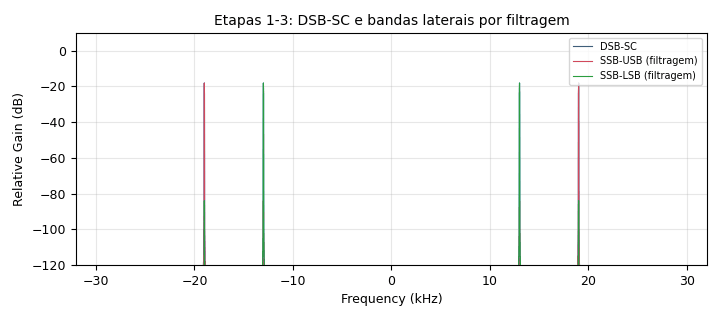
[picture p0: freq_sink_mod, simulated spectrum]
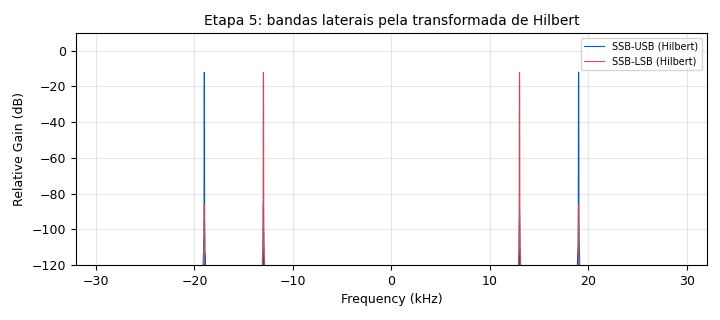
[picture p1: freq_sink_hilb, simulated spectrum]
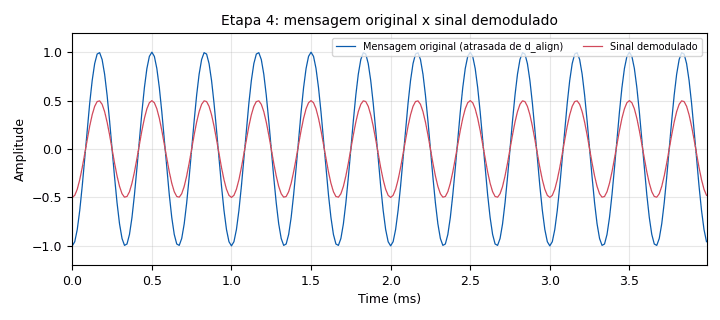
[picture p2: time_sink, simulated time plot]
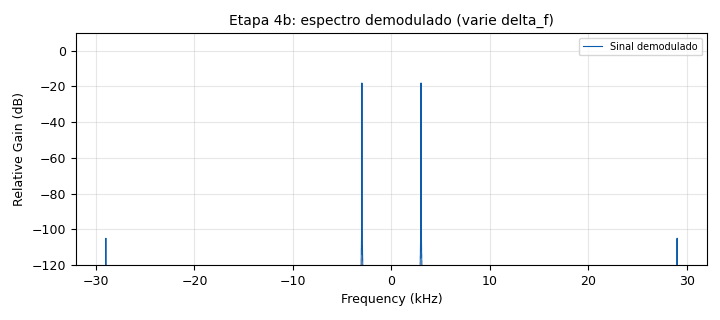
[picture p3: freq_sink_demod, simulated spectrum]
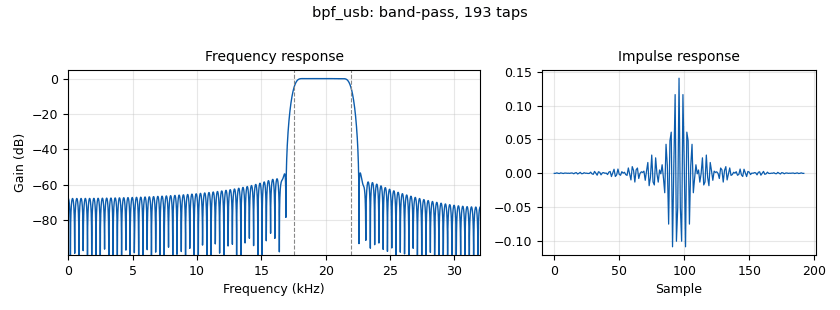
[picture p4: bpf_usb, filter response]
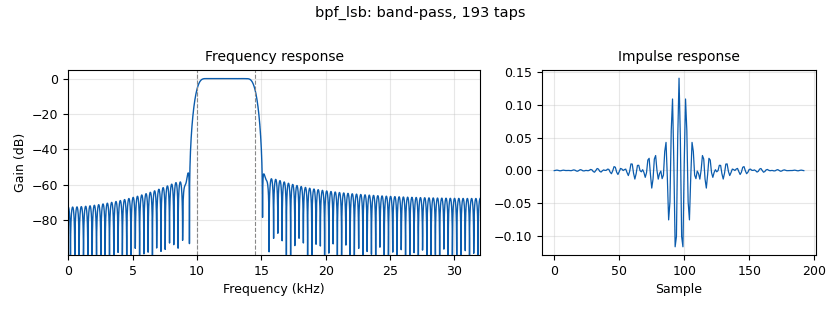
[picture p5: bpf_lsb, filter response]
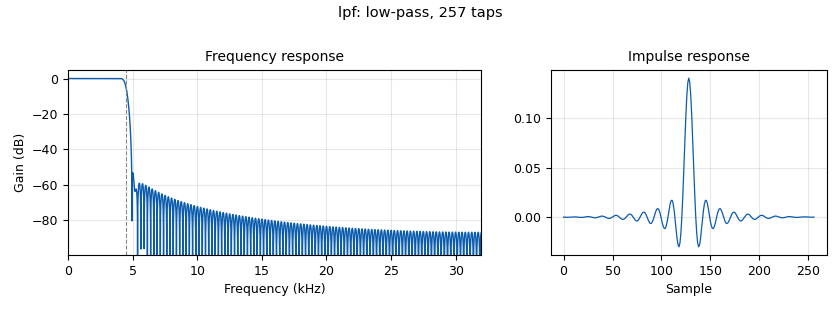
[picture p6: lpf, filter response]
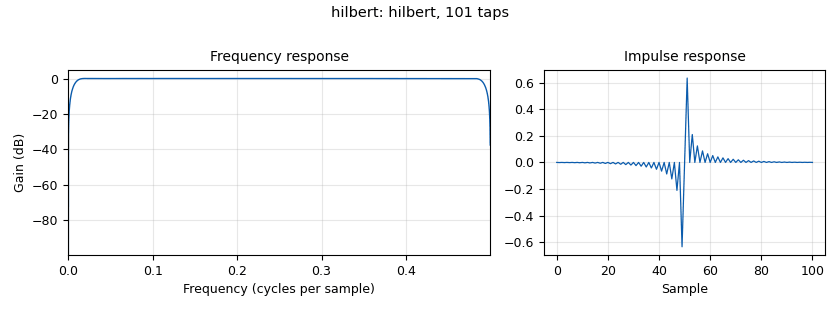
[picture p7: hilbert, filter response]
options:
  parameters:
    author: Prof. Daniel Costa Araújo
    description: Prática 04 - Modulação SSB (Banda Lateral Única)
    generate_options: qt_gui
    id: pratica_04_ssb
    output_language: python
    title: Prática 04 - Modulação SSB (Banda Lateral Única)
  states: {}

blocks:
- name: samp_rate
  id: variable
  parameters:
    comment: Taxa de amostragem
    value: '64000'
  states: {}
- name: fc
  id: variable
  parameters:
    comment: Frequência da portadora
    value: '16000'
  states: {}
- name: bw_trans
  id: variable
  parameters:
    comment: Banda de transição dos BPF
    value: '800'
  states: {}
- name: bw_trans_lp
  id: variable
  parameters:
    comment: Banda de transição do LPF
    value: '600'
  states: {}
- name: n_hilb
  id: variable
  parameters:
    comment: Coeficientes do filtro de Hilbert (ímpar)
    value: '101'
  states: {}
- name: d_align
  id: variable
  parameters:
    comment: Atraso de grupo BPF + LPF (amostras)
    value: '224'
  states: {}
- name: fm
  id: variable_qtgui_range
  parameters:
    comment: Frequência da mensagem
    gui_hint: 0,0,1,1
    label: Frequência da mensagem fm (Hz)
    start: '1500'
    step: '500'
    stop: '6000'
    value: '3000'
  states: {}
- name: delta_f
  id: variable_qtgui_range
  parameters:
    comment: Erro de frequência do oscilador local
    gui_hint: 0,1,1,1
    label: Erro do oscilador local delta_f (Hz)
    start: '-500'
    step: '25'
    stop: '500'
    value: '0'
  states: {}
- name: src_mensagem
  id: analog_sig_source_x
  parameters:
    amp: '1.0'
    comment: Sinal mensagem m(t)
    freq: fm
    offset: '0'
    phase: '0'
    samp_rate: samp_rate
    type: float
    waveform: analog.GR_COS_WAVE
  states: {}
- name: src_portadora_cos
  id: analog_sig_source_x
  parameters:
    amp: '1.0'
    comment: Portadora em fase cos(2 pi fc t)
    freq: fc
    offset: '0'
    phase: '0'
    samp_rate: samp_rate
    type: float
    waveform: analog.GR_COS_WAVE
  states: {}
- name: src_portadora_sin
  id: analog_sig_source_x
  parameters:
    amp: '1.0'
    comment: Portadora em quadratura sin(2 pi fc t)
    freq: fc
    offset: '0'
    phase: '0'
    samp_rate: samp_rate
    type: float
    waveform: analog.GR_SIN_WAVE
  states: {}
- name: src_local
  id: analog_sig_source_x
  parameters:
    amp: '2.0'
    comment: 'Oscilador local: fc + delta_f, amplitude 2'
    freq: fc+delta_f
    offset: '0'
    phase: '0'
    samp_rate: samp_rate
    type: float
    waveform: analog.GR_COS_WAVE
  states: {}
- name: mult_mod
  id: blocks_multiply_xx
  parameters:
    comment: 'DSB-SC: m(t) x c(t)'
    type: float
  states: {}
- name: throttle
  id: blocks_throttle2
  parameters:
    samples_per_second: samp_rate
    type: float
  states: {}
- name: bpf_usb
  id: band_pass_filter
  parameters:
    comment: 'Etapa 2: seleciona a banda lateral superior'
    decim: '1'
    gain: '1'
    high_cutoff_freq: fc+2*fm
    low_cutoff_freq: fc+fm/2
    samp_rate: samp_rate
    type: fir_filter_fff
    width: bw_trans
    win: window.WIN_HAMMING
  states: {}
- name: bpf_lsb
  id: band_pass_filter
  parameters:
    comment: 'Etapa 3: seleciona a banda lateral inferior'
    decim: '1'
    gain: '1'
    high_cutoff_freq: fc-fm/2
    low_cutoff_freq: fc-2*fm
    samp_rate: samp_rate
    type: fir_filter_fff
    width: bw_trans
    win: window.WIN_HAMMING
  states: {}
- name: mult_demod
  id: blocks_multiply_xx
  parameters:
    comment: 'Etapa 4: SSB-USB x oscilador local'
    type: float
  states: {}
- name: lpf
  id: low_pass_filter
  parameters:
    comment: 'Etapa 4: recupera m(t) em banda base'
    cutoff_freq: fm*1.5
    decim: '1'
    gain: '1'
    samp_rate: samp_rate
    type: fir_filter_fff
    width: bw_trans_lp
    win: window.WIN_HAMMING
  states: {}
- name: delay_ref
  id: blocks_delay
  parameters:
    comment: Alinha m(t) com o sinal demodulado
    delay: d_align
    type: float
  states: {}
- name: hilbert
  id: hilbert_fc
  parameters:
    comment: Sinal analítico da mensagem
    num_taps: n_hilb
  states: {}
- name: c2f
  id: blocks_complex_to_float
  parameters:
    comment: re = m(t-tau)   |   im = m_chapeu(t-tau)
  states: {}
- name: mult_i
  id: blocks_multiply_xx
  parameters:
    comment: 'Ramo I: m(t-tau) x cos'
    type: float
  states: {}
- name: mult_q
  id: blocks_multiply_xx
  parameters:
    comment: 'Ramo Q: m_chapeu(t-tau) x sin'
    type: float
  states: {}
- name: sub_usb
  id: blocks_sub_xx
  parameters:
    comment: I - Q  ->  USB
    type: float
  states: {}
- name: add_lsb
  id: blocks_add_xx
  parameters:
    comment: I + Q  ->  LSB
    type: float
  states: {}
- name: freq_sink_mod
  id: qtgui_freq_sink_x
  parameters:
    average: '0.2'
    bw: samp_rate
    comment: Etapas 1 a 3
    ctrlpanel: 'True'
    fc: '0'
    fftsize: '4096'
    grid: 'True'
    gui_hint: 1,0,1,1
    label1: DSB-SC
    label2: SSB-USB (filtragem)
    label3: SSB-LSB (filtragem)
    name: '"Etapas 1-3: DSB-SC e bandas laterais por filtragem"'
    nconnections: '3'
    type: float
    wintype: window.WIN_HANN
    ymin: '-120'
  states: {}
- name: freq_sink_hilb
  id: qtgui_freq_sink_x
  parameters:
    average: '0.2'
    bw: samp_rate
    color1: '"magenta"'
    color2: '"dark green"'
    comment: Etapa 5
    ctrlpanel: 'True'
    fc: '0'
    fftsize: '4096'
    grid: 'True'
    gui_hint: 1,1,1,1
    label1: SSB-USB (Hilbert)
    label2: SSB-LSB (Hilbert)
    name: '"Etapa 5: bandas laterais pela transformada de Hilbert"'
    nconnections: '2'
    type: float
    wintype: window.WIN_HANN
    ymin: '-120'
  states: {}
- name: time_sink
  id: qtgui_time_sink_x
  parameters:
    comment: 'Etapa 4: escala 0,5 visível porque autoscale está desligado'
    ctrlpanel: 'True'
    grid: 'True'
    gui_hint: 2,0,1,1
    label1: Mensagem original (atrasada de d_align)
    label2: Sinal demodulado
    name: '"Etapa 4: mensagem original x sinal demodulado"'
    nconnections: '2'
    size: '256'
    srate: samp_rate
    type: float
    width2: '2'
    ymax: '1.2'
    ymin: '-1.2'
  states: {}
- name: freq_sink_demod
  id: qtgui_freq_sink_x
  parameters:
    average: '0.2'
    bw: samp_rate
    comment: 'Etapa 4b: use o slider delta_f'
    ctrlpanel: 'True'
    fc: '0'
    fftsize: '4096'
    grid: 'True'
    gui_hint: 2,1,1,1
    label1: Sinal demodulado
    name: '"Etapa 4b: espectro demodulado (varie delta_f)"'
    type: float
    wintype: window.WIN_HANN
    ymin: '-120'
  states: {}

connections:
- [src_mensagem, '0', mult_mod, '0']
- [src_portadora_cos, '0', mult_mod, '1']
- [mult_mod, '0', throttle, '0']
- [throttle, '0', bpf_usb, '0']
- [throttle, '0', bpf_lsb, '0']
- [bpf_usb, '0', mult_demod, '0']
- [src_local, '0', mult_demod, '1']
- [mult_demod, '0', lpf, '0']
- [src_mensagem, '0', delay_ref, '0']
- [src_mensagem, '0', hilbert, '0']
- [hilbert, '0', c2f, '0']
- [c2f, '0', mult_i, '0']
- [src_portadora_cos, '0', mult_i, '1']
- [c2f, '1', mult_q, '0']
- [src_portadora_sin, '0', mult_q, '1']
- [mult_i, '0', sub_usb, '0']
- [mult_q, '0', sub_usb, '1']
- [mult_i, '0', add_lsb, '0']
- [mult_q, '0', add_lsb, '1']
- [throttle, '0', freq_sink_mod, '0']
- [bpf_usb, '0', freq_sink_mod, '1']
- [bpf_lsb, '0', freq_sink_mod, '2']
- [sub_usb, '0', freq_sink_hilb, '0']
- [add_lsb, '0', freq_sink_hilb, '1']
- [delay_ref, '0', time_sink, '0']
- [lpf, '0', time_sink, '1']
- [lpf, '0', freq_sink_demod, '0']

metadata:
  file_format: 1
  grc_version: 3.10.12.0
